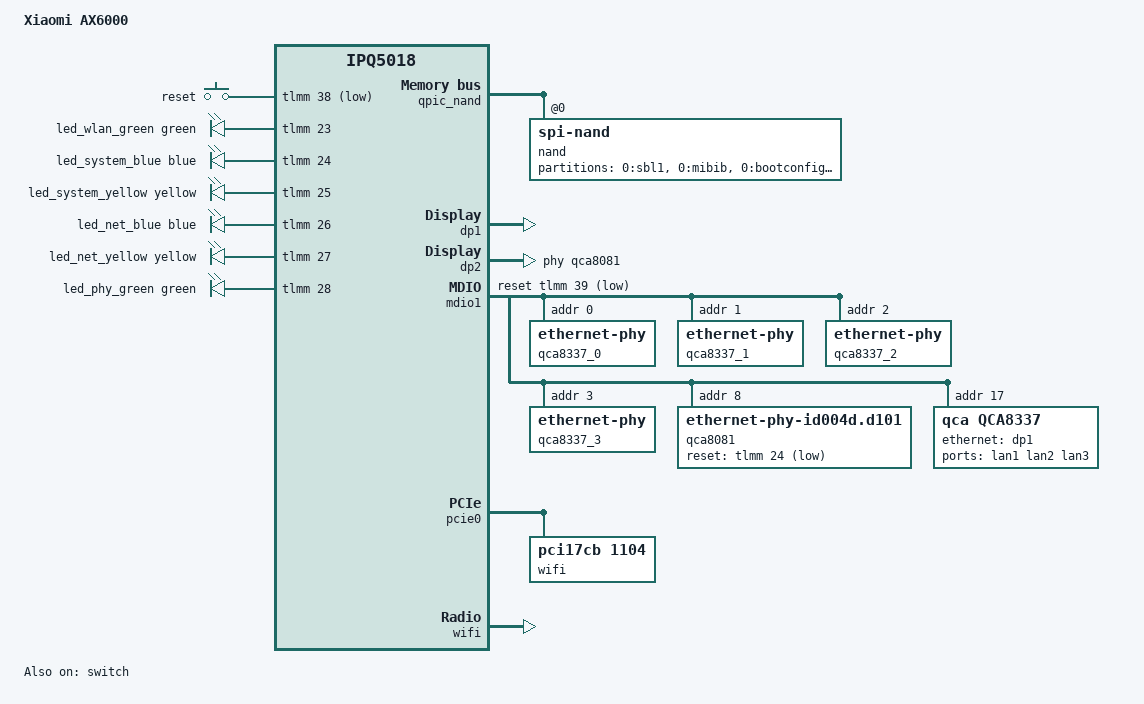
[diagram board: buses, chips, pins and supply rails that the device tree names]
// SPDX-License-Identifier: GPL-2.0-or-later OR MIT

/dts-v1/;

#include "ipq5018.dtsi"
#include "ipq5018-ess.dtsi"
#include "ipq5018-nss.dtsi"
#include "ipq5018-common.dtsi"

#include <dt-bindings/gpio/gpio.h>
#include <dt-bindings/input/input.h>
#include <dt-bindings/leds/common.h>

/ {
	model = "Xiaomi AX6000";
	compatible = "xiaomi,ax6000", "qcom,ipq5018";

	aliases {
		label-mac-device = &dp1;
		led-boot = &led_system_blue;
		led-failsafe = &led_system_yellow;
		led-running = &led_system_blue;
		led-upgrade = &led_system_yellow;
		serial0 = &blsp1_uart1;
	};

	chosen {
		stdout-path = "serial0:115200n8";
		bootargs-append = " ubi.mtd=rootfs root=/dev/ubiblock0_0";
	};

	keys {
		compatible = "gpio-keys";

		reset-button {
			label = "reset";
			gpios = <&tlmm 38 GPIO_ACTIVE_LOW>;
			linux,code = <KEY_RESTART>;
		};
	};

	leds {
		compatible = "gpio-leds";

		led_wlan_green: wlan-green {
			color = <LED_COLOR_ID_GREEN>;
			function = LED_FUNCTION_WLAN;
			gpios = <&tlmm 23 GPIO_ACTIVE_HIGH>;
		};

		led_system_blue: system-blue {
			color = <LED_COLOR_ID_BLUE>;
			function = LED_FUNCTION_POWER;
			gpios = <&tlmm 24 GPIO_ACTIVE_HIGH>;
		};

		led_system_yellow: system-yellow {
			color = <LED_COLOR_ID_YELLOW>;
			function = LED_FUNCTION_POWER;
			gpios = <&tlmm 25 GPIO_ACTIVE_HIGH>;
		};

		led_net_blue: net-blue {
			color = <LED_COLOR_ID_BLUE>;
			function = LED_FUNCTION_WAN_ONLINE;
			gpios = <&tlmm 26 GPIO_ACTIVE_HIGH>;
		};

		led_net_yellow: net-yellow {
			color = <LED_COLOR_ID_YELLOW>;
			function = LED_FUNCTION_WAN;
			gpios = <&tlmm 27 GPIO_ACTIVE_HIGH>;
		};

		led_phy_green: phy-green {
			color = <LED_COLOR_ID_GREEN>;
			function = LED_FUNCTION_LAN;
			gpios = <&tlmm 28 GPIO_ACTIVE_HIGH>;
		};
	};
};

&qpic_nand {
	status = "okay";

	pinctrl-0 = <&qpic_pins>;
	pinctrl-names = "default";

	nand@0 {
		compatible = "spi-nand";
		reg = <0>;

		nand-ecc-engine = <&qpic_nand>;
		nand-ecc-strength = <4>;
		nand-ecc-step-size = <512>;
		nand-bus-width = <8>;

		partitions {
			compatible = "fixed-partitions";
			#address-cells = <1>;
			#size-cells = <1>;

			partition@0 {
				label = "0:sbl1";
				reg = <0x00000000 0x80000>;
				read-only;
			};

			partition@80000 {
				label = "0:mibib";
				reg = <0x00080000 0x80000>;
				read-only;
			};

			partition@100000 {
				label = "0:bootconfig";
				reg = <0x00100000 0x40000>;
				read-only;
			};

			partition@140000 {
				label = "0:bootconfig1";
				reg = <0x00140000 0x40000>;
				read-only;
			};

			partition@180000 {
				label = "0:qsee";
				reg = <0x00180000 0x100000>;
				read-only;
			};

			partition@280000 {
				label = "0:qsee_1";
				reg = <0x00280000 0x100000>;
				read-only;
			};

			partition@380000 {
				label = "0:devcfg";
				reg = <0x00380000 0x40000>;
				read-only;
			};

			partition@3c0000 {
				label = "0:devcfg_1";
				reg = <0x003c0000 0x40000>;
				read-only;
			};

			partition@400000 {
				label = "0:cdt";
				reg = <0x00400000 0x40000>;
				read-only;
			};

			partition@440000 {
				label = "0:cdt_1`";
				reg = <0x00440000 0x40000>;
				read-only;
			};

			partition@480000 {
				label = "0:appsblenv";
				reg = <0x00480000 0x80000>;
			};

			partition@500000 {
				label = "0:appsbl";
				reg = <0x00500000 0x140000>;
				read-only;
			};

			partition@640000 {
				label = "0:appsbl_1";
				reg = <0x00640000 0x140000>;
				read-only;
			};

			partition@780000 {
				label = "0:art";
				reg = <0x00780000 0x100000>;
				read-only;

				nvmem-layout {
					compatible = "fixed-layout";
					#address-cells = <1>;
					#size-cells = <1>;

					mac_addr_dp1: macaddr@0 {
						reg = <0x0 0x6>;
					};

					mac_addr_dp2: macaddr@6 {
						reg = <0x6 0x6>;
					};

					caldata_qca9889: caldata@4d000 {
						reg = <0x4d000 0x844>;
					};
				};
			};

			partition@880000 {
				label = "0:training";
				reg = <0x00880000 0x80000>;
				read-only;
			};

			partition@900000 {
				label = "bdata";
				reg = <0x00900000 0x80000>;
			};

			partition@980000 {
				label = "crash";
				reg = <0x00980000 0x80000>;
			};

			partition@a00000 {
				label = "crash_syslog";
				reg = <0x00a00000 0x80000>;
			};

			partition@a80000 {
				label = "ubi_kernel";
				reg = <0x00a80000 0x2400000>;
			};

			partition@2e80000 {
				label = "rootfs";
				reg = <0x02e80000 0x5180000>;
			};
		};
	};
};

&switch {
	status = "okay";

	qcom,port_phyinfo {
		port@0 {
			port_id = <1>;
			mdiobus = <&mdio0>;
			phy_address = <7>;
			phy_dac = <0x10 0x10>;
		};

		port@1 {
			port_id = <2>;
			mdiobus = <&mdio1>;
			phy_address = <8>;
			port_mac_sel = "QGMAC_PORT";

			/delete-property/ forced-speed;
			/delete-property/ forced-duplex;
		};
	};
};

&dp1 {
	status = "okay";

	nvmem-cells = <&mac_addr_dp1 0>;
	nvmem-cell-names = "mac-address";
};

&dp2 {
	status = "okay";

	label = "wan";
	phy-handle = <&qca8081>;
	nvmem-cells = <&mac_addr_dp2 0>;
	nvmem-cell-names = "mac-address";
};

&mdio1 {
	status = "okay";

	pinctrl-0 = <&mdio1_pins>;
	pinctrl-names = "default";
	reset-gpios = <&tlmm 39 GPIO_ACTIVE_LOW>;

	qca8337_0: ethernet-phy@0 {
		reg = <0>;
	};

	qca8337_1: ethernet-phy@1 {
		reg = <1>;
	};

	qca8337_2: ethernet-phy@2 {
		reg = <2>;
	};

	qca8337_3: ethernet-phy@3 {
		reg = <3>;
	};

	qca8081: ethernet-phy@8 {
		compatible = "ethernet-phy-id004d.d101";
		reg = <8>;
		reset-deassert-us = <10000>;
		reset-gpios = <&tlmm 24 GPIO_ACTIVE_LOW>;

		leds {
			#address-cells = <1>;
			#size-cells = <0>;

			led@0 {
				reg = <0>;
				color = <LED_COLOR_ID_GREEN>;
				function = LED_FUNCTION_WAN;
				default-state = "keep";
			};
		};
	};

	qca8337: ethernet-switch@17 {
		compatible = "qca,qca8337";
		#address-cells = <1>;
		#size-cells = <0>;
		reg = <17>;

		ports {
			port@1 {
				reg = <1>;
				label = "lan1";
				phy-handle = <&qca8337_0>;

				leds {
					#address-cells = <1>;
					#size-cells = <0>;

					led@0 {
						reg = <0>;
						color = <LED_COLOR_ID_GREEN>;
						function = LED_FUNCTION_LAN;
						default-state = "keep";
					};
				};
			};

			port@2 {
				reg = <2>;
				label = "lan2";
				phy-handle = <&qca8337_1>;

				leds {
					#address-cells = <1>;
					#size-cells = <0>;

					led@0 {
						reg = <0>;
						color = <LED_COLOR_ID_GREEN>;
						function = LED_FUNCTION_LAN;
						default-state = "keep";
					};
				};
			};

			port@3 {
				reg = <3>;
				label = "lan3";
				phy-handle = <&qca8337_2>;

				leds {
					#address-cells = <1>;
					#size-cells = <0>;

					led@0 {
						reg = <0>;
						color = <LED_COLOR_ID_GREEN>;
						function = LED_FUNCTION_LAN;
						default-state = "keep";
					};
				};
			};

			port@4 {
				reg = <4>;
				phy-handle = <&qca8337_3>;
				phy-mode = "gmii";
				ethernet = <&dp1>;
			};
		};
	};
};

&pcie0 {
	status = "okay";
	perst-gpios = <&tlmm 15 GPIO_ACTIVE_LOW>;

	pcie@0 {
		wifi@0,0 {
			status = "okay";
			compatible = "pci17cb,1104";
			qcom,ath11k-fw-memory-mode = <1>;
			qcom,ath11k-calibration-variant = "Xiaomi-AX6000";
			reg = <0x00010000 0 0 0 0>;
		};
	};
};

&pcie1 {
	/*
	 * although the pcie1 phy probes successfully, the controller is unable to bring it up.
	 * So let's disable it until a solution is found.
	 */
	status = "disabled";
	perst-gpios = <&tlmm 18 GPIO_ACTIVE_HIGH>;

	pcie@0 {
		wifi@0,0 {
			status = "okay";
			compatible = "qcom,ath10k";
			qcom,ath10k-fw-memory-mode = <1>;
			qcom,ath10k-calibration-variant = "Xiaomi-AX6000";
			reg = <0x00010000 0 0 0 0>;

			nvmem-cell-names = "calibration";
			nvmem-cells = <&caldata_qca9889>;
		};
	};
};

&wifi {
	status = "okay";

	qcom,rproc = <&q6v5_wcss>;
	qcom,ath11k-calibration-variant = "Xiaomi-AX6000";
};
